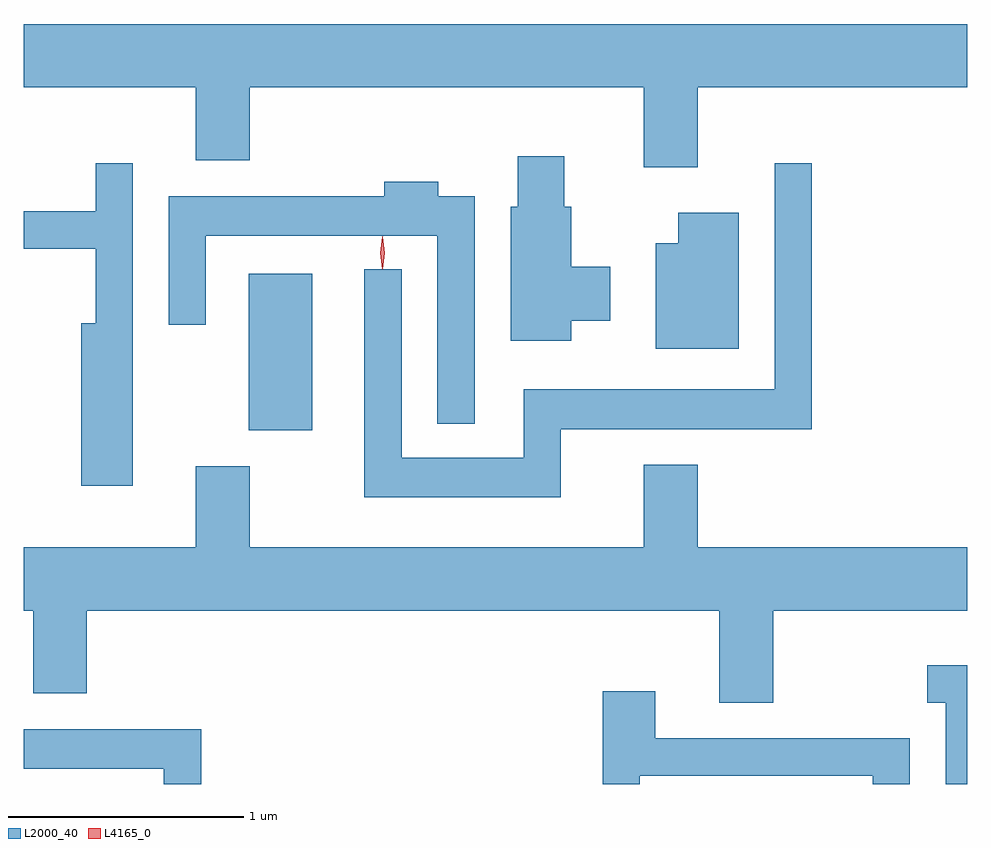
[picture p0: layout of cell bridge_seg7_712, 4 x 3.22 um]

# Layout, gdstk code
import gdstk
lib = gdstk.Library(unit=1e-6, precision=1e-09)
def R(c, l, rs):  # rectangles x0, y0, x1, y1
    for r in rs: c.add(gdstk.rectangle(r[:2], r[2:], *l))
def P(c, l, *ps):  # polygons
    for p in ps: c.add(gdstk.Polygon(p, *l))
L2000_40 = (2000, 40)
L4165_0 = (4165, 0)

bridge_seg7_712 = lib.new_cell('bridge_seg7_712')
R(bridge_seg7_712, L2000_40, [(609.316,1755.041,609.584,1755.704)])
P(bridge_seg7_712, L2000_40, [(611.219,1756.496),(612.362,1756.496),(612.362,1756.764),(608.362,1756.764),(608.362,1756.496),(609.091,1756.496),(609.091,1756.186),(609.319,1756.186),(609.319,1756.496),(610.991,1756.496),(610.991,1756.156),(611.219,1756.156)],
  [(610.684,1755.506),(610.849,1755.506),(610.849,1755.734),(610.684,1755.734),(610.684,1755.989),(610.654,1755.989),(610.654,1756.204),(610.456,1756.204),(610.456,1755.989),(610.426,1755.989),(610.426,1755.421),(610.684,1755.421)],
  [(610.639,1755.046),(611.704,1755.046),(611.704,1756.173),(611.546,1756.173),(611.546,1755.214),(610.481,1755.214),(610.481,1754.924),(609.964,1754.924),(609.964,1755.723),(609.806,1755.723),(609.806,1754.756),(610.639,1754.756)],
  [(608.824,1756.173),(608.666,1756.173),(608.666,1755.969),(608.362,1755.969),(608.362,1755.811),(608.666,1755.811),(608.666,1755.494),(608.606,1755.494),(608.606,1754.806),(608.824,1754.806)],
  [(610.274,1756.034),(610.119,1756.034),(610.119,1756.094),(609.891,1756.094),(609.891,1756.034),(608.976,1756.034),(608.976,1755.488),(609.134,1755.488),(609.134,1755.866),(610.116,1755.866),(610.116,1755.068),(610.274,1755.068)],
  [(611.394,1755.964),(611.136,1755.964),(611.136,1755.834),(611.041,1755.834),(611.041,1755.386),(611.394,1755.386)],
  [(611.539,1754.276),(612.362,1754.276),(612.362,1754.544),(611.219,1754.544),(611.219,1754.894),(610.991,1754.894),(610.991,1754.544),(609.319,1754.544),(609.319,1754.889),(609.091,1754.889),(609.091,1754.544),(608.362,1754.544),(608.362,1754.276),(608.401,1754.276),(608.401,1753.926),(608.629,1753.926),(608.629,1754.276),(611.311,1754.276),(611.311,1753.886),(611.539,1753.886)],
  [(612.362,1754.044),(612.193,1754.044),(612.193,1753.886),(612.271,1753.886),(612.271,1753.541),(612.362,1753.541)],
  [(610.974,1753.576),(611.961,1753.576),(611.961,1753.541),(612.119,1753.541),(612.119,1753.734),(611.039,1753.734),(611.039,1753.934),(610.816,1753.934),(610.816,1753.541),(610.974,1753.541)],
  [(609.114,1753.774),(608.362,1753.774),(608.362,1753.606),(608.956,1753.606),(608.956,1753.541),(609.114,1753.541)])
P(bridge_seg7_712, L4165_0, [(609.883,1755.723),(609.882,1755.724),(609.873,1755.793),(609.882,1755.862),(609.883,1755.863),(609.884,1755.862),(609.893,1755.793),(609.884,1755.724)])

lib.write_gds('bridge_seg7_712.gds')
